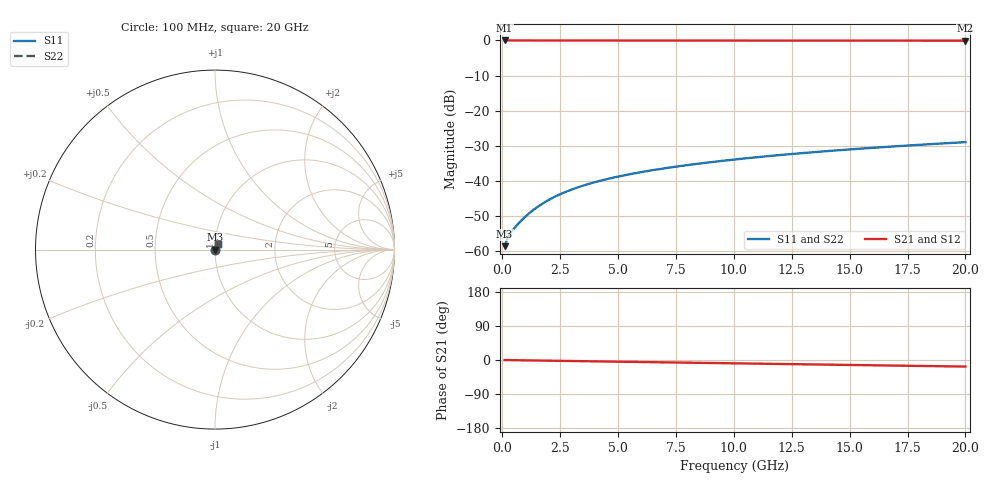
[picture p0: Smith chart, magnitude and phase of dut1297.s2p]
! Touchstone file exported from HFSS 2026.1.0
!  File:  C:/ffzhzh/LocalFiles/Ansys_Project_Files/temp_train_TMRDL_1297_1783164625_22436.aedt
!  Generated:  07:31:33 PM Jul  4, 2026
!  Design:  TMRDL
!  Project:  temp_train_TMRDL_1297_1783164625_22436
! Variables:
!  h_bsmrdl = 2um
!  h_ox = 20um
!  h_rdl = 5um
!  h_sub = 80um
!  h_tmrdl = 5.16um
!  h_tsv = 80um
!  h_via = 3um
!  l_bsmrdl = 300um
!  l_sub = 698.65um
!  l_tmrdl = 298.65um
!  m_sub = 200um
!  pitch = 29.74um
!  r_tsv = 6um
!  s_tmrdl = 10um
!  w_bsmrdl = 18um
!  w_sub = 500um
!  w_tmrdl = 22.93um
!  x_tsv_center1 = 310.115um
!  x_tsv_center2 = 628.115um
!  x_tsv_center3 = 949.695um
!  x_tsv_center4 = 1267.695um
!  x_tsv_center5 = 1589.275um
!  x_tsv_center6 = 1907.275um
# GHz S MA R 50.000000
! Terminal data exported
! Port[1] = TM_RDL1_1_T1
! Port[2] = TM_RDL1_1_T2
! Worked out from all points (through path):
!   200 points, 100 MHz to 20 GHz, reference 50 ohm
!   highest |S21| = -0.01 dB at 100 MHz (marker M1); lowest = -0.1 dB at 20 GHz (marker M2)
!   group delay of S21, straight-line fit = 2.4 ps
!   lowest |S11| = -58.5 dB at 100 MHz (marker M3), VSWR 1.00, Z = 50.1 + j0.0451 ohm
!   |S11| at or under -10 dB: start of sweep to end of sweep
!   |S22| runs from -58.5 to -28.9 dB; largest |S21 - S12| = 4.3e-15
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0.1  0.001188 22.3  0.9989 -0.1  0.9989 -0.1  0.001188 22.3
! Gamma 0 0 0 0
! Port Impedance 50 0 50 0
0.2  0.001473 31.8  0.9988 -0.2  0.9988 -0.2  0.001473 31.8
0.3  0.001711 36.8  0.9986 -0.3  0.9986 -0.3  0.001711 36.8
0.4  0.001916 40.7  0.9985 -0.4  0.9985 -0.4  0.001916 40.7
0.6  0.002303 47.4  0.9984 -0.6  0.9984 -0.6  0.002303 47.4
0.8  0.002706 52.8  0.9984 -0.7  0.9984 -0.7  0.002706 52.8
1  0.003131 56.8  0.9983 -0.9  0.9983 -0.9  0.003131 56.8
1.3  0.003796 60.9  0.9982 -1.2  0.9982 -1.2  0.003796 60.9
1.5  0.004249 62.8  0.9981 -1.4  0.9981 -1.4  0.004249 62.8
1.8  0.004933 64.8  0.998 -1.6  0.998 -1.6  0.004933 64.7
2.3  0.006063 66.6  0.9978 -2.1  0.9978 -2.1  0.006063 66.6
2.9  0.00738 67.5  0.9975 -2.6  0.9975 -2.6  0.00738 67.5
3.5  0.008645 67.8  0.9971 -3.1  0.9971 -3.1  0.008645 67.8
4.2  0.01005 67.8  0.9968 -3.8  0.9968 -3.8  0.01005 67.8
4.9  0.0114 67.6  0.9964 -4.4  0.9964 -4.4  0.0114 67.6
5.8  0.01306 67.3  0.996 -5.2  0.996 -5.2  0.01306 67.3
6.8  0.01484 67.0  0.9955 -6.0  0.9955 -6.0  0.01484 67.0
8.3  0.01741 66.4  0.995 -7.3  0.995 -7.3  0.01741 66.4
10.1  0.02039 65.6  0.9943 -8.9  0.9943 -8.9  0.0204 65.6
13.4  0.0257 64.0  0.9933 -11.7  0.9933 -11.7  0.0257 64.0
16.7  0.03082 62.2  0.9924 -14.5  0.9924 -14.5  0.03083 62.1
20  0.03578 60.1  0.9915 -17.4  0.9915 -17.4  0.03579 60.1
